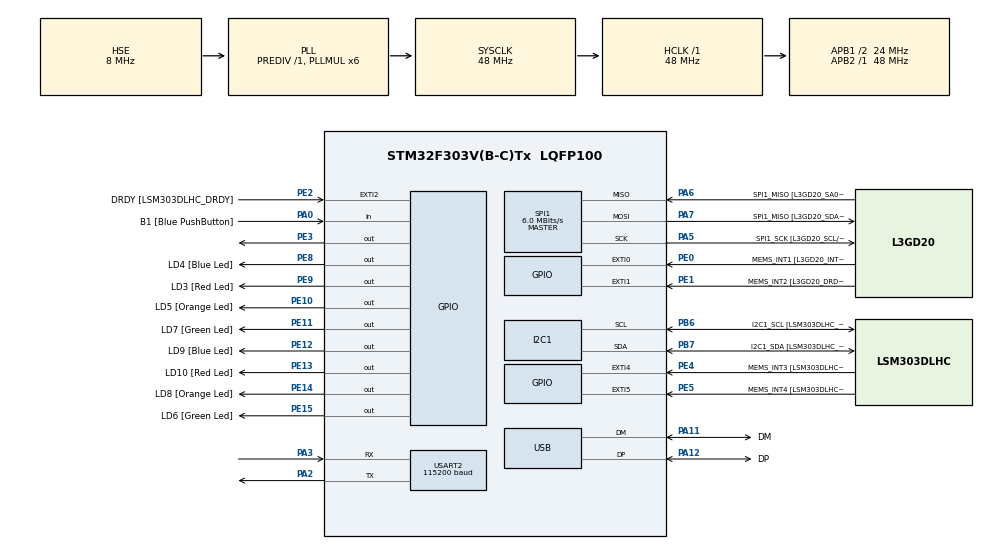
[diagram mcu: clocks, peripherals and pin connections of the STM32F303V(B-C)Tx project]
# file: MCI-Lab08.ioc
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I2C1.Timing=0x00201D2B
I2C1.Timing-I2C=0x2000090E
Mcu.Family=STM32F3
Mcu.Name=STM32F303V(B-C)Tx
Mcu.Package=LQFP100
NVIC.PriorityGroup=NVIC_PRIORITYGROUP_0
NVIC.SPI1_IRQn=true\:0\:0\:false\:false\:true\:true\:true\:true
PA0.GPIO_Label=B1 [Blue PushButton]
PA0.Signal=GPIO_Input
PA11.GPIO_Label=DM
PA11.Mode=Device
PA11.Signal=USB_DM
PA12.GPIO_Label=DP
PA12.Mode=Device
PA12.Signal=USB_DP
PA13.GPIO_Label=SWDIO
PA13.Mode=Serial_Wire
PA13.Signal=SYS_JTMS-SWDIO
PA14.GPIO_Label=SWCLK
PA14.Mode=Serial_Wire
PA14.Signal=SYS_JTCK-SWCLK
PA2.Mode=Asynchronous
PA2.Signal=USART2_TX
PA3.Mode=Asynchronous
PA3.Signal=USART2_RX
PA5.GPIO_Label=SPI1_SCK [L3GD20_SCL/SPC]
PA5.Mode=Full_Duplex_Master
PA5.Signal=SPI1_SCK
PA6.GPIO_Label=SPI1_MISO [L3GD20_SA0/SDO]
PA6.Mode=Full_Duplex_Master
PA6.Signal=SPI1_MISO
PA7.GPIO_Label=SPI1_MISO [L3GD20_SDA/SDI/SDO]
PA7.Mode=Full_Duplex_Master
PA7.Signal=SPI1_MOSI
PB3.GPIO_Label=SWO
PB3.Signal=SYS_JTDO-TRACESWO
PB6.GPIO_Label=I2C1_SCL [LSM303DLHC_SCL]
PB6.GPIO_Pu=GPIO_PULLUP
PB6.Mode=I2C
PB6.Signal=I2C1_SCL
PB7.GPIO_Label=I2C1_SDA [LSM303DLHC_SDA]
PB7.GPIO_Pu=GPIO_PULLUP
PB7.Mode=I2C
PB7.Signal=I2C1_SDA
PC14-OSC32_IN.GPIO_Label=OSC32_IN
PC14-OSC32_IN.Signal=RCC_OSC32_IN
PC15-OSC32_OUT.GPIO_Label=OSC32_OUT
PC15-OSC32_OUT.Signal=RCC_OSC32_OUT
PE0.GPIO_Label=MEMS_INT1 [L3GD20_INT1]
PE0.GPIO_ModeDefaultEXTI=GPIO_MODE_EVT_RISING
PE0.Signal=GPXTI0
PE1.GPIO_Label=MEMS_INT2 [L3GD20_DRDY/INT2]
PE1.GPIO_ModeDefaultEXTI=GPIO_MODE_EVT_RISING
PE1.Signal=GPXTI1
PE10.GPIO_Label=LD5 [Orange Led]
PE10.Signal=GPIO_Output
PE11.GPIO_Label=LD7 [Green Led]
PE11.Signal=GPIO_Output
PE12.GPIO_Label=LD9 [Blue Led]
PE12.Signal=GPIO_Output
PE13.GPIO_Label=LD10 [Red Led]
PE13.Signal=GPIO_Output
PE14.GPIO_Label=LD8 [Orange Led]
PE14.Signal=GPIO_Output
PE15.GPIO_Label=LD6 [Green Led]
PE15.Signal=GPIO_Output
PE2.GPIO_Label=DRDY [LSM303DLHC_DRDY]
PE2.GPIO_ModeDefaultEXTI=GPIO_MODE_EVT_RISING
PE2.Signal=GPXTI2
PE3.Signal=GPIO_Output
PE4.GPIO_Label=MEMS_INT3 [LSM303DLHC_INT1]
PE4.GPIO_ModeDefaultEXTI=GPIO_MODE_EVT_RISING
PE4.Signal=GPXTI4
PE5.GPIO_Label=MEMS_INT4 [LSM303DLHC_INT2]
PE5.GPIO_ModeDefaultEXTI=GPIO_MODE_EVT_RISING
PE5.Signal=GPXTI5
PE8.GPIO_Label=LD4 [Blue Led]
PE8.Signal=GPIO_Output
PE9.GPIO_Label=LD3 [Red Led]
PE9.Signal=GPIO_Output
PF0-OSC_IN.GPIO_Label=OSC_IN
PF0-OSC_IN.Mode=HSE-External-Clock-Source
PF0-OSC_IN.Signal=RCC_OSC_IN
PF1-OSC_OUT.GPIO_Label=OSC_OUT
PF1-OSC_OUT.Signal=RCC_OSC_OUT
ProjectManager.HeapSize=0x200
ProjectManager.StackSize=0x400
ProjectManager.TargetToolchain=CMake
RCC.AHBFreq_Value=48000000
RCC.APB1CLKDivider=RCC_HCLK_DIV2
RCC.APB1Freq_Value=24000000
RCC.APB1TimFreq_Value=48000000
RCC.APB2Freq_Value=48000000
RCC.APB2TimFreq_Value=48000000
RCC.CortexFreq_Value=48000000
RCC.HCLKFreq_Value=48000000
RCC.HSE_VALUE=8000000
RCC.HSI_VALUE=8000000
RCC.LSE_VALUE=32768
RCC.PLLMUL=RCC_PLL_MUL6
RCC.SYSCLKFreq_VALUE=48000000
RCC.SYSCLKSourceVirtual=RCC_SYSCLKSOURCE_PLLCLK
RCC.USBFreq_Value=48000000
SPI1.BaudRatePrescaler=SPI_BAUDRATEPRESCALER_8
SPI1.BaudRatePrescaler-Full_Duplex_Master=SPI_BAUDRATEPRESCALER_2
SPI1.CLKPhase=SPI_PHASE_2EDGE
SPI1.CLKPolarity=SPI_POLARITY_HIGH
SPI1.CalculateBaudRate=6.0 MBits/s
SPI1.CalculateBaudRate-Full_Duplex_Master=24.0 MBits/s
SPI1.DataSize=SPI_DATASIZE_8BIT
SPI1.Direction=SPI_DIRECTION_2LINES
SPI1.Mode=SPI_MODE_MASTER
SPI1.Mode-Full_Duplex_Master=SPI_MODE_MASTER
SPI1.VirtualType=VM_MASTER
USART2.BaudRate=115200
USART2.VirtualMode-Asynchronous=VM_ASYNC
board=STM32F3DISCOVERY

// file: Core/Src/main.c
/* USER CODE BEGIN Header */
/**
  ******************************************************************************
  * @file           : main.c
  * @brief          : Main program body
  ******************************************************************************
  * @attention
  *
  * Copyright (c) 2026 STMicroelectronics.
  * All rights reserved.
  *
  * This software is licensed under terms that can be found in the LICENSE file
  * in the root directory of this software component.
  * If no LICENSE file comes with this software, it is provided AS-IS.
  *
  ******************************************************************************
  */
/* USER CODE END Header */
#include "main.h"

/* USER CODE BEGIN Includes */
#include <string.h>
#include <stdio.h>
/* USER CODE END Includes */

I2C_HandleTypeDef hi2c1;

SPI_HandleTypeDef hspi1;

UART_HandleTypeDef huart2;

PCD_HandleTypeDef hpcd_USB_FS;

/* USER CODE BEGIN PV */
uint8_t tx_buf = 0xA6;   // read command for OUT_TEMP (0x80 | 0x26)
uint8_t rx_buf = 0;
/* USER CODE END PV */

void SystemClock_Config(void);
static void MX_GPIO_Init(void);
static void MX_I2C1_Init(void);
static void MX_SPI1_Init(void);
static void MX_USART2_UART_Init(void);
static void MX_USB_PCD_Init(void);

/* USER CODE BEGIN 0 */
void gyro_init(void) {
    // uint8_t tx[2] = { 0x20, 0x0F };
    uint8_t tx[2] = { 0x20, 0x8F };
    HAL_GPIO_WritePin(GPIOE, GPIO_PIN_3, GPIO_PIN_RESET);
    HAL_SPI_Transmit(&hspi1, tx, 2, HAL_MAX_DELAY);
    HAL_GPIO_WritePin(GPIOE, GPIO_PIN_3, GPIO_PIN_SET);
}
/* USER CODE END 0 */

int main(void)
{

  /* MCU Configuration--------------------------------------------------------*/

  /* Reset of all peripherals, Initializes the Flash interface and the Systick. */
  HAL_Init();

  /* Configure the system clock */
  SystemClock_Config();

  /* Initialize all configured peripherals */
  MX_GPIO_Init();
  MX_I2C1_Init();
  MX_SPI1_Init();
  MX_USART2_UART_Init();
  MX_USB_PCD_Init();
  /* USER CODE BEGIN 2 */
  // Task 1 : register read/write
  // HAL_GPIO_WritePin(GPIOE, GPIO_PIN_3, GPIO_PIN_SET); // CS high initially
  // gyro_init();

  // TAsk 2 : reading temp with interrupts
  // HAL_GPIO_WritePin(GPIOE, GPIO_PIN_3, GPIO_PIN_SET);
  // gyro_init();
  // HAL_Delay(100);
  // HAL_GPIO_WritePin(GPIOE, GPIO_PIN_3, GPIO_PIN_RESET);
  // char test[] = "Starting...\r\n";
  // HAL_UART_Transmit(&huart2, (uint8_t*)test, strlen(test), HAL_MAX_DELAY);
  // HAL_SPI_Transmit_IT(&hspi1, &tx_buf, 1);

  // Task 3 : read x y z
  HAL_GPIO_WritePin(GPIOE, GPIO_PIN_3, GPIO_PIN_SET);
  gyro_init();

  /* USER CODE END 2 */

  /* Infinite loop */
  /* USER CODE BEGIN WHILE */
  // uint8_t tx = 0x8F;
  // uint8_t rx = 0;
  // char msg[50];
  while (1)
  {
    // task 1: who am i
    // HAL_GPIO_WritePin(GPIOE, GPIO_PIN_3, GPIO_PIN_RESET);
    // HAL_SPI_Transmit(&hspi1, &tx, 1, HAL_MAX_DELAY);
    // HAL_SPI_Receive(&hspi1, &rx, 1, HAL_MAX_DELAY);
    // HAL_GPIO_WritePin(GPIOE, GPIO_PIN_3, GPIO_PIN_SET);

    // sprintf(msg, "WHO AM I: 0x%02X\r\n", rx);
    // HAL_UART_Transmit(&huart2, (uint8_t*)msg, strlen(msg), HAL_MAX_DELAY);

    // HAL_Delay(500);

    // Task 2: read temp with interrupts
    // HAL_UART_Transmit(&huart2, (uint8_t*)test, strlen(test), HAL_MAX_DELAY);
    // HAL_SPI_Transmit_IT(&hspi1, &tx_buf, 1);
    // HAL_Delay(500);

    // TAsk 3 : read x y z
    uint8_t tx, rx;
    uint8_t x_l, x_h, y_l, y_h, z_l, z_h;
    char msg[100];

    tx = 0x80 | 0x26;
    HAL_GPIO_WritePin(GPIOE, GPIO_PIN_3, GPIO_PIN_RESET);
    HAL_SPI_Transmit(&hspi1, &tx, 1, HAL_MAX_DELAY);
    HAL_SPI_Receive(&hspi1, &rx, 1, HAL_MAX_DELAY);
    HAL_GPIO_WritePin(GPIOE, GPIO_PIN_3, GPIO_PIN_SET);

    int8_t temp = (int8_t)rx;

    // Read X low
    tx = 0x80 | 0x28;
    HAL_GPIO_WritePin(GPIOE, GPIO_PIN_3, GPIO_PIN_RESET);
    HAL_SPI_Transmit(&hspi1, &tx, 1, HAL_MAX_DELAY);
    HAL_SPI_Receive(&hspi1, &x_l, 1, HAL_MAX_DELAY);
    HAL_GPIO_WritePin(GPIOE, GPIO_PIN_3, GPIO_PIN_SET);

    // Read X high
    tx = 0x80 | 0x29;
    HAL_GPIO_WritePin(GPIOE, GPIO_PIN_3, GPIO_PIN_RESET);
    HAL_SPI_Transmit(&hspi1, &tx, 1, HAL_MAX_DELAY);
    HAL_SPI_Receive(&hspi1, &x_h, 1, HAL_MAX_DELAY);
    HAL_GPIO_WritePin(GPIOE, GPIO_PIN_3, GPIO_PIN_SET);

    // Read Y low
    tx = 0x80 | 0x2A;
    HAL_GPIO_WritePin(GPIOE, GPIO_PIN_3, GPIO_PIN_RESET);
    HAL_SPI_Transmit(&hspi1, &tx, 1, HAL_MAX_DELAY);
    HAL_SPI_Receive(&hspi1, &y_l, 1, HAL_MAX_DELAY);
    HAL_GPIO_WritePin(GPIOE, GPIO_PIN_3, GPIO_PIN_SET);

    // Read Y high
    tx = 0x80 | 0x2B;
    HAL_GPIO_WritePin(GPIOE, GPIO_PIN_3, GPIO_PIN_RESET);
    HAL_SPI_Transmit(&hspi1, &tx, 1, HAL_MAX_DELAY);
    HAL_SPI_Receive(&hspi1, &y_h, 1, HAL_MAX_DELAY);
    HAL_GPIO_WritePin(GPIOE, GPIO_PIN_3, GPIO_PIN_SET);

    // Read Z low
    tx = 0x80 | 0x2C;
    HAL_GPIO_WritePin(GPIOE, GPIO_PIN_3, GPIO_PIN_RESET);
    HAL_SPI_Transmit(&hspi1, &tx, 1, HAL_MAX_DELAY);
    HAL_SPI_Receive(&hspi1, &z_l, 1, HAL_MAX_DELAY);
    HAL_GPIO_WritePin(GPIOE, GPIO_PIN_3, GPIO_PIN_SET);

    // Read Z high
    tx = 0x80 | 0x2D;
    HAL_GPIO_WritePin(GPIOE, GPIO_PIN_3, GPIO_PIN_RESET);
    HAL_SPI_Transmit(&hspi1, &tx, 1, HAL_MAX_DELAY);
    HAL_SPI_Receive(&hspi1, &z_h, 1, HAL_MAX_DELAY);
    HAL_GPIO_WritePin(GPIOE, GPIO_PIN_3, GPIO_PIN_SET);

      // Merge bytes
    int16_t x_raw = (int16_t)((x_h << 8) | x_l);
    int16_t y_raw = (int16_t)((y_h << 8) | y_l);
    int16_t z_raw = (int16_t)((z_h << 8) | z_l);

      // Convert to dps
    float x_dps = x_raw * 0.00875f;
    float y_dps = y_raw * 0.00875f;
    float z_dps = z_raw * 0.00875f;

      // Transmit
    sprintf(msg, "%d, %.2f, %.2f, %.2f\r\n", temp, x_dps, y_dps, z_dps);
    // sprintf(msg, "%d, %d, %d, %d\r\n", temp, x_raw, y_raw, z_raw);
    HAL_UART_Transmit(&huart2, (uint8_t*)msg, strlen(msg), HAL_MAX_DELAY);
    HAL_Delay(100);
    /* USER CODE END WHILE */

  }
}

void SystemClock_Config(void)
{
  RCC_OscInitTypeDef RCC_OscInitStruct = {0};
  RCC_ClkInitTypeDef RCC_ClkInitStruct = {0};
  RCC_PeriphCLKInitTypeDef PeriphClkInit = {0};

  /** Initializes the RCC Oscillators according to the specified parameters
  * in the RCC_OscInitTypeDef structure.
  */
  RCC_OscInitStruct.OscillatorType = RCC_OSCILLATORTYPE_HSI|RCC_OSCILLATORTYPE_HSE;
  RCC_OscInitStruct.HSEState = RCC_HSE_BYPASS;
  RCC_OscInitStruct.HSEPredivValue = RCC_HSE_PREDIV_DIV1;
  RCC_OscInitStruct.HSIState = RCC_HSI_ON;
  RCC_OscInitStruct.HSICalibrationValue = RCC_HSICALIBRATION_DEFAULT;
  RCC_OscInitStruct.PLL.PLLState = RCC_PLL_ON;
  RCC_OscInitStruct.PLL.PLLSource = RCC_PLLSOURCE_HSE;
  RCC_OscInitStruct.PLL.PLLMUL = RCC_PLL_MUL6;
  if (HAL_RCC_OscConfig(&RCC_OscInitStruct) != HAL_OK)
  {
    Error_Handler();
  }

  /** Initializes the CPU, AHB and APB buses clocks
  */
  RCC_ClkInitStruct.ClockType = RCC_CLOCKTYPE_HCLK|RCC_CLOCKTYPE_SYSCLK
                              |RCC_CLOCKTYPE_PCLK1|RCC_CLOCKTYPE_PCLK2;
  RCC_ClkInitStruct.SYSCLKSource = RCC_SYSCLKSOURCE_PLLCLK;
  RCC_ClkInitStruct.AHBCLKDivider = RCC_SYSCLK_DIV1;
  RCC_ClkInitStruct.APB1CLKDivider = RCC_HCLK_DIV2;
  RCC_ClkInitStruct.APB2CLKDivider = RCC_HCLK_DIV1;

  if (HAL_RCC_ClockConfig(&RCC_ClkInitStruct, FLASH_LATENCY_1) != HAL_OK)
  {
    Error_Handler();
  }
  PeriphClkInit.PeriphClockSelection = RCC_PERIPHCLK_USB|RCC_PERIPHCLK_USART2
                              |RCC_PERIPHCLK_I2C1;
  PeriphClkInit.Usart2ClockSelection = RCC_USART2CLKSOURCE_PCLK1;
  PeriphClkInit.I2c1ClockSelection = RCC_I2C1CLKSOURCE_HSI;
  PeriphClkInit.USBClockSelection = RCC_USBCLKSOURCE_PLL;
  if (HAL_RCCEx_PeriphCLKConfig(&PeriphClkInit) != HAL_OK)
  {
    Error_Handler();
  }
}

static void MX_I2C1_Init(void)
{

  hi2c1.Instance = I2C1;
  hi2c1.Init.Timing = 0x00201D2B;
  hi2c1.Init.OwnAddress1 = 0;
  hi2c1.Init.AddressingMode = I2C_ADDRESSINGMODE_7BIT;
  hi2c1.Init.DualAddressMode = I2C_DUALADDRESS_DISABLE;
  hi2c1.Init.OwnAddress2 = 0;
  hi2c1.Init.OwnAddress2Masks = I2C_OA2_NOMASK;
  hi2c1.Init.GeneralCallMode = I2C_GENERALCALL_DISABLE;
  hi2c1.Init.NoStretchMode = I2C_NOSTRETCH_DISABLE;
  if (HAL_I2C_Init(&hi2c1) != HAL_OK)
  {
    Error_Handler();
  }

  /** Configure Analogue filter
  */
  if (HAL_I2CEx_ConfigAnalogFilter(&hi2c1, I2C_ANALOGFILTER_ENABLE) != HAL_OK)
  {
    Error_Handler();
  }

  /** Configure Digital filter
  */
  if (HAL_I2CEx_ConfigDigitalFilter(&hi2c1, 0) != HAL_OK)
  {
    Error_Handler();
  }

}

static void MX_SPI1_Init(void)
{

  /* SPI1 parameter configuration*/
  hspi1.Instance = SPI1;
  hspi1.Init.Mode = SPI_MODE_MASTER;
  hspi1.Init.Direction = SPI_DIRECTION_2LINES;
  hspi1.Init.DataSize = SPI_DATASIZE_8BIT;
  hspi1.Init.CLKPolarity = SPI_POLARITY_HIGH;
  hspi1.Init.CLKPhase = SPI_PHASE_2EDGE;
  hspi1.Init.NSS = SPI_NSS_SOFT;
  hspi1.Init.BaudRatePrescaler = SPI_BAUDRATEPRESCALER_8;
  hspi1.Init.FirstBit = SPI_FIRSTBIT_MSB;
  hspi1.Init.TIMode = SPI_TIMODE_DISABLE;
  hspi1.Init.CRCCalculation = SPI_CRCCALCULATION_DISABLE;
  hspi1.Init.CRCPolynomial = 7;
  hspi1.Init.CRCLength = SPI_CRC_LENGTH_DATASIZE;
  hspi1.Init.NSSPMode = SPI_NSS_PULSE_DISABLE;
  if (HAL_SPI_Init(&hspi1) != HAL_OK)
  {
    Error_Handler();
  }

}

static void MX_USART2_UART_Init(void)
{

  huart2.Instance = USART2;
  huart2.Init.BaudRate = 115200;
  huart2.Init.WordLength = UART_WORDLENGTH_8B;
  huart2.Init.StopBits = UART_STOPBITS_1;
  huart2.Init.Parity = UART_PARITY_NONE;
  huart2.Init.Mode = UART_MODE_TX_RX;
  huart2.Init.HwFlowCtl = UART_HWCONTROL_NONE;
  huart2.Init.OverSampling = UART_OVERSAMPLING_16;
  huart2.Init.OneBitSampling = UART_ONE_BIT_SAMPLE_DISABLE;
  huart2.AdvancedInit.AdvFeatureInit = UART_ADVFEATURE_NO_INIT;
  if (HAL_UART_Init(&huart2) != HAL_OK)
  {
    Error_Handler();
  }

}

static void MX_USB_PCD_Init(void)
{

  hpcd_USB_FS.Instance = USB;
  hpcd_USB_FS.Init.dev_endpoints = 8;
  hpcd_USB_FS.Init.speed = PCD_SPEED_FULL;
  hpcd_USB_FS.Init.phy_itface = PCD_PHY_EMBEDDED;
  hpcd_USB_FS.Init.low_power_enable = DISABLE;
  hpcd_USB_FS.Init.battery_charging_enable = DISABLE;
  if (HAL_PCD_Init(&hpcd_USB_FS) != HAL_OK)
  {
    Error_Handler();
  }

}

static void MX_GPIO_Init(void)
{
  GPIO_InitTypeDef GPIO_InitStruct = {0};

  /* GPIO Ports Clock Enable */
  __HAL_RCC_GPIOE_CLK_ENABLE();
  __HAL_RCC_GPIOC_CLK_ENABLE();
  __HAL_RCC_GPIOF_CLK_ENABLE();
  __HAL_RCC_GPIOA_CLK_ENABLE();
  __HAL_RCC_GPIOB_CLK_ENABLE();

  /*Configure GPIO pin Output Level */
  HAL_GPIO_WritePin(GPIOE, GPIO_PIN_3|LD4_Pin|LD3_Pin|LD5_Pin
                          |LD7_Pin|LD9_Pin|LD10_Pin|LD8_Pin
                          |LD6_Pin, GPIO_PIN_RESET);

  /*Configure GPIO pins : DRDY_Pin MEMS_INT3_Pin MEMS_INT4_Pin MEMS_INT1_Pin
                           MEMS_INT2_Pin */
  GPIO_InitStruct.Pin = DRDY_Pin|MEMS_INT3_Pin|MEMS_INT4_Pin|MEMS_INT1_Pin
                          |MEMS_INT2_Pin;
  GPIO_InitStruct.Mode = GPIO_MODE_EVT_RISING;
  GPIO_InitStruct.Pull = GPIO_NOPULL;
  HAL_GPIO_Init(GPIOE, &GPIO_InitStruct);

  /*Configure GPIO pins : PE3 LD4_Pin LD3_Pin LD5_Pin
                           LD7_Pin LD9_Pin LD10_Pin LD8_Pin
                           LD6_Pin */
  GPIO_InitStruct.Pin = GPIO_PIN_3|LD4_Pin|LD3_Pin|LD5_Pin
                          |LD7_Pin|LD9_Pin|LD10_Pin|LD8_Pin
                          |LD6_Pin;
  GPIO_InitStruct.Mode = GPIO_MODE_OUTPUT_PP;
  GPIO_InitStruct.Pull = GPIO_NOPULL;
  GPIO_InitStruct.Speed = GPIO_SPEED_FREQ_LOW;
  HAL_GPIO_Init(GPIOE, &GPIO_InitStruct);

  /*Configure GPIO pin : B1_Pin */
  GPIO_InitStruct.Pin = B1_Pin;
  GPIO_InitStruct.Mode = GPIO_MODE_INPUT;
  GPIO_InitStruct.Pull = GPIO_NOPULL;
  HAL_GPIO_Init(B1_GPIO_Port, &GPIO_InitStruct);

}

/* USER CODE BEGIN 4 */
// void HAL_SPI_TxCpltCallback(SPI_HandleTypeDef *hspi) {
//     if (hspi->Instance == SPI1) {
//         HAL_SPI_Receive_IT(&hspi1, &rx_buf, 1);
//     }
// }

// void HAL_SPI_RxCpltCallback(SPI_HandleTypeDef *hspi) {
//     if (hspi->Instance == SPI1) {
//         HAL_GPIO_WritePin(GPIOE, GPIO_PIN_3, GPIO_PIN_SET);

//         int8_t temp = (int8_t)rx_buf;
//         char msg[30];
//         sprintf(msg, "%d\r\n", temp);
//         HAL_UART_Transmit(&huart2, (uint8_t*)msg, strlen(msg), HAL_MAX_DELAY);

//         // HAL_Delay(100);
//         HAL_GPIO_WritePin(GPIOE, GPIO_PIN_3, GPIO_PIN_RESET);
//         HAL_SPI_Transmit_IT(&hspi1, &tx_buf, 1);
//     }
// }
/* USER CODE END 4 */

void Error_Handler(void)
{
  __disable_irq();
  while (1)
  {
  }
}
